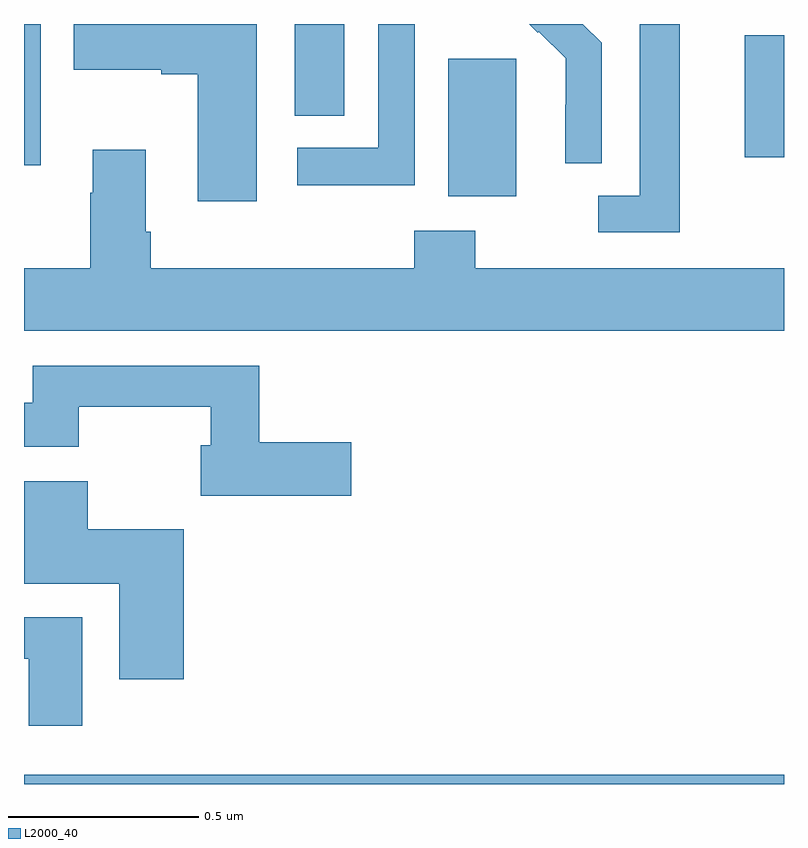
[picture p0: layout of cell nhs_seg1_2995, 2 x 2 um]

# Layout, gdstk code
import gdstk
lib = gdstk.Library(unit=1e-6, precision=1e-09)
def R(c, l, rs):  # rectangles x0, y0, x1, y1
    for r in rs: c.add(gdstk.rectangle(r[:2], r[2:], *l))
def P(c, l, *ps):  # polygons
    for p in ps: c.add(gdstk.Polygon(p, *l))
L2000_40 = (2000, 40)

nhs_seg1_2995 = lib.new_cell('nhs_seg1_2995')
R(nhs_seg1_2995, L2000_40, [(148,557.199,150,557.224), (149.117,558.746,149.296,559.107), (148,558.827,148.044,559.199), (149.897,558.849,150,559.169), (148.712,558.958,148.843,559.199)])
P(nhs_seg1_2995, L2000_40, [(149.725,559.199),(149.621,559.199),(149.621,558.747),(149.511,558.747),(149.511,558.651),(149.725,558.651)],
  [(149.028,559.199),(148.932,559.199),(148.932,558.873),(148.719,558.873),(148.719,558.775),(149.028,558.775)],
  [(149.52,559.15),(149.471,559.199),(149.329,559.199),(149.352,559.176),(149.355,559.179),(149.426,559.109),(149.426,558.986),(149.424,558.986),(149.424,558.832),(149.52,558.832)],
  [(148.612,559.199),(148.131,559.199),(148.131,559.079),(148.361,559.079),(148.361,559.067),(148.457,559.067),(148.457,558.732),(148.612,558.732)],
  [(150,558.556),(149.187,558.556),(149.187,558.655),(149.027,558.655),(149.027,558.556),(148.334,558.556),(148.334,558.652),(148.321,558.652),(148.321,558.868),(148.181,558.868),(148.181,558.755),(148.174,558.755),(148.174,558.556),(148,558.556),(148,558.392),(150,558.392)],
  [(148.861,558.099),(148.619,558.099),(148.619,558.3),(148.023,558.3),(148.023,558.202),(148,558.202),(148,558.086),(148.144,558.086),(148.144,558.192),(148.491,558.192),(148.491,558.091),(148.465,558.091),(148.465,557.957),(148.861,557.957)],
  [(148.421,557.869),(148.168,557.869),(148.168,557.996),(148,557.996),(148,557.726),(148.25,557.726),(148.25,557.475),(148.421,557.475)],
  [(148.153,557.638),(148,557.638),(148,557.529),(148.013,557.529),(148.013,557.352),(148.153,557.352)])

lib.write_gds('nhs_seg1_2995.gds')
